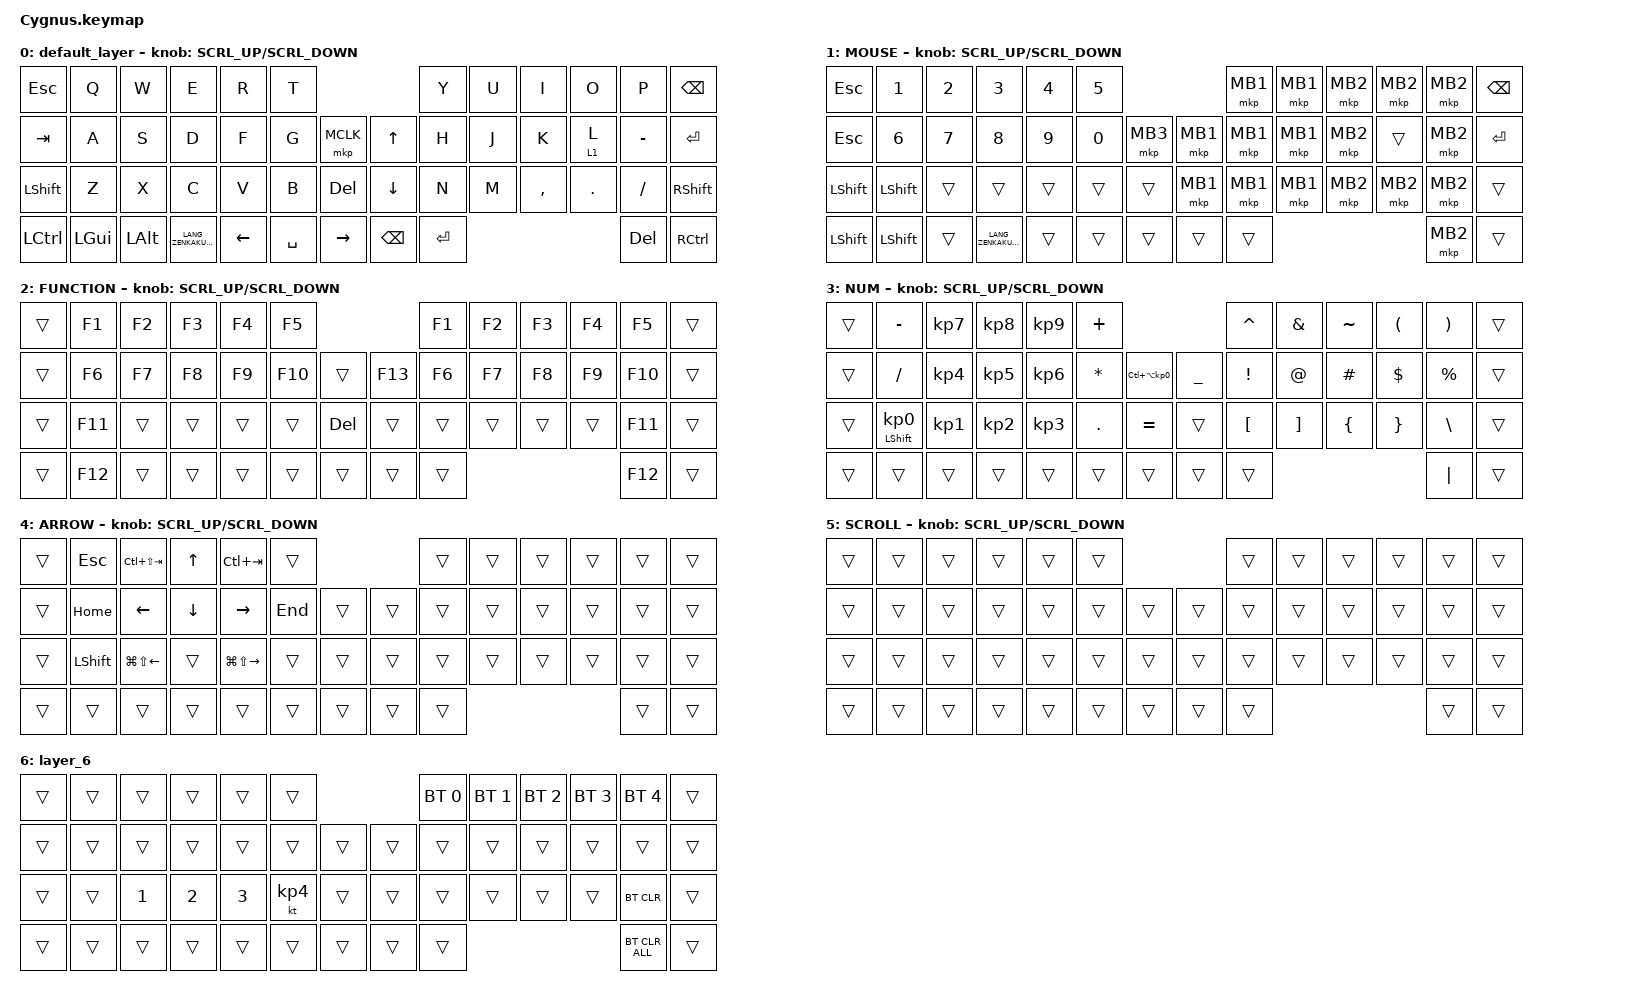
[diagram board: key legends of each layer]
#define ZMK_POINTING_DEFAULT_SCRL_VAL 120    // default: 10

#include <behaviors.dtsi>
#include <dt-bindings/zmk/bt.h>
#include <dt-bindings/zmk/keys.h>
#include <dt-bindings/zmk/pointing.h>

#define MOUSE 4
#define SCROLL 5
#define NUM 6

&mt {
    flavor = "balanced";
    quick-tap-ms = <0>;
};

/ {
    combos {
        compatible = "zmk,combos";

        double_quotation {
            bindings = <&kp DOUBLE_QUOTES>;
            key-positions = <20 21>;
        };
    };

    macros {
        to_layer_0: to_layer_0 {
            compatible = "zmk,behavior-macro-one-param";
            #binding-cells = <1>;
            bindings = <&to 0 &macro_param_1to1 &kp MACRO_PLACEHOLDER>;
            label = "TO_LAYER_0";
        };
    };

    behaviors {
        lt_to_layer_0: lt_to_layer_0 {
            compatible = "zmk,behavior-hold-tap";
            label = "LAYER_TAP_TO_0";
            bindings = <&mo>, <&to_layer_0>;

            #binding-cells = <2>;
            tapping-term-ms = <200>;
        };

        ROTATE: ROTATE {
            compatible = "zmk,behavior-sensor-rotate-var";
            label = "ROTATE";
            #sensor-binding-cells = <2>;
            bindings = <&msc>, <&msc>;

            tap-ms = <20>;
        };
    };

    keymap {
        compatible = "zmk,keymap";

        default_layer {
            bindings = <
&kp ESC    &kp Q     &kp W     &kp E                    &kp R           &kp T                                         &kp Y      &kp U  &kp I      &kp O    &kp P      &kp BSPC
&kp TAB    &kp A     &kp S     &kp D                    &kp F           &kp G      &mkp MCLK          &kp UP_ARROW    &kp H      &kp J  &kp K      &lt 1 L  &kp MINUS  &kp ENTER
&kp LSHFT  &kp Z     &kp X     &kp C                    &kp V           &kp B      &kp DELETE         &kp DOWN_ARROW  &kp N      &kp M  &kp COMMA  &kp DOT  &kp FSLH   &kp RSHFT
&kp LCTRL  &kp LGUI  &kp LALT  &kp LANG_ZENKAKUHANKAKU  &kp LEFT_ARROW  &kp SPACE  &kp RIGHT_ARROW    &kp BACKSPACE   &kp ENTER                             &kp DEL    &kp RCTRL
            >;

            sensor-bindings = <&ROTATE SCRL_UP SCRL_DOWN>;
        };

        MOUSE {
            bindings = <
&kp ESC         &kp NUMBER_1    &kp NUMBER_2  &kp NUMBER_3             &kp NUMBER_4  &kp N5                              &mkp MB1  &mkp MB1  &mkp MB2  &mkp MB2  &mkp MB2  &kp BACKSPACE
&kp ESC         &kp NUMBER_6    &kp NUMBER_7  &kp NUMBER_8             &kp NUMBER_9  &kp NUMBER_0  &mkp MB3    &mkp MB1  &mkp MB1  &mkp MB1  &mkp MB2  &trans    &mkp MB2  &kp ENTER
&kp LEFT_SHIFT  &kp LEFT_SHIFT  &trans        &trans                   &trans        &trans        &trans      &mkp MB1  &mkp MB1  &mkp MB1  &mkp MB2  &mkp MB2  &mkp MB2  &trans
&kp LEFT_SHIFT  &kp LEFT_SHIFT  &trans        &kp LANG_ZENKAKUHANKAKU  &trans        &trans        &trans      &trans    &trans                                  &mkp MB2  &trans
            >;

            sensor-bindings = <&ROTATE SCRL_UP SCRL_DOWN>;
        };

        FUNCTION {
            bindings = <
&trans  &kp F1   &kp F2  &kp F3  &kp F4  &kp F5                          &kp F1  &kp F2  &kp F3  &kp F4  &kp F5   &trans
&trans  &kp F6   &kp F7  &kp F8  &kp F9  &kp F10  &trans        &kp F13  &kp F6  &kp F7  &kp F8  &kp F9  &kp F10  &trans
&trans  &kp F11  &trans  &trans  &trans  &trans   &kp DELETE    &trans   &trans  &trans  &trans  &trans  &kp F11  &trans
&trans  &kp F12  &trans  &trans  &trans  &trans   &trans        &trans   &trans                          &kp F12  &trans
            >;

            sensor-bindings = <&ROTATE SCRL_UP SCRL_DOWN>;
        };

        NUM {
            bindings = <
&trans  &kp MINUS                   &kp KP_NUMBER_7  &kp KP_NUMBER_8  &kp KP_NUMBER_9  &kp PLUS                                                 &kp CARET         &kp AMPERSAND      &kp TILDE       &kp LEFT_PARENTHESIS  &kp RIGHT_PARENTHESIS  &trans
&trans  &kp SLASH                   &kp KP_NUMBER_4  &kp KP_NUMBER_5  &kp KP_NUMBER_6  &kp ASTERISK  &kp LC(LA(KP_NUMBER_0))    &kp UNDERSCORE  &kp EXCLAMATION   &kp AT_SIGN        &kp HASH        &kp DOLLAR            &kp PERCENT            &trans
&trans  &mt LEFT_SHIFT KP_NUMBER_0  &kp KP_NUMBER_1  &kp KP_NUMBER_2  &kp KP_NUMBER_3  &kp PERIOD    &kp EQUAL                  &trans          &kp LEFT_BRACKET  &kp RIGHT_BRACKET  &kp LEFT_BRACE  &kp RIGHT_BRACE       &kp BACKSLASH          &trans
&trans  &trans                      &trans           &trans           &trans           &trans        &trans                     &trans          &trans                                                                     &kp PIPE               &trans
            >;

            sensor-bindings = <&ROTATE SCRL_UP SCRL_DOWN>;
        };

        ARROW {
            bindings = <
&trans  &kp ESCAPE      &kp LC(LS(TAB))         &kp UP_ARROW    &kp LC(TAB)              &trans                     &trans  &trans  &trans  &trans  &trans  &trans
&trans  &kp HOME        &kp LEFT_ARROW          &kp DOWN_ARROW  &kp RIGHT_ARROW          &kp END  &trans    &trans  &trans  &trans  &trans  &trans  &trans  &trans
&trans  &kp LEFT_SHIFT  &kp LG(LS(LEFT_ARROW))  &trans          &kp LG(LS(RIGHT_ARROW))  &trans   &trans    &trans  &trans  &trans  &trans  &trans  &trans  &trans
&trans  &trans          &trans                  &trans          &trans                   &trans   &trans    &trans  &trans                          &trans  &trans
            >;

            sensor-bindings = <&ROTATE SCRL_UP SCRL_DOWN>;
        };

        SCROLL {
            bindings = <
&trans  &trans  &trans  &trans  &trans  &trans                    &trans  &trans  &trans  &trans  &trans  &trans
&trans  &trans  &trans  &trans  &trans  &trans  &trans    &trans  &trans  &trans  &trans  &trans  &trans  &trans
&trans  &trans  &trans  &trans  &trans  &trans  &trans    &trans  &trans  &trans  &trans  &trans  &trans  &trans
&trans  &trans  &trans  &trans  &trans  &trans  &trans    &trans  &trans                          &trans  &trans
            >;

            sensor-bindings = <&ROTATE SCRL_UP SCRL_DOWN>;
        };

        layer_6 {
            bindings = <
&trans  &trans  &trans        &trans        &trans        &trans                       &bt BT_SEL 0  &bt BT_SEL 1  &bt BT_SEL 2  &bt BT_SEL 3  &bt BT_SEL 4    &trans
&trans  &trans  &trans        &trans        &trans        &trans     &trans    &trans  &trans        &trans        &trans        &trans        &trans          &trans
&trans  &trans  &kp NUMBER_1  &kp NUMBER_2  &kp NUMBER_3  &kt KP_N4  &trans    &trans  &trans        &trans        &trans        &trans        &bt BT_CLR      &trans
&trans  &trans  &trans        &trans        &trans        &trans     &trans    &trans  &trans                                                  &bt BT_CLR_ALL  &trans
            >;
        };
    };
};
